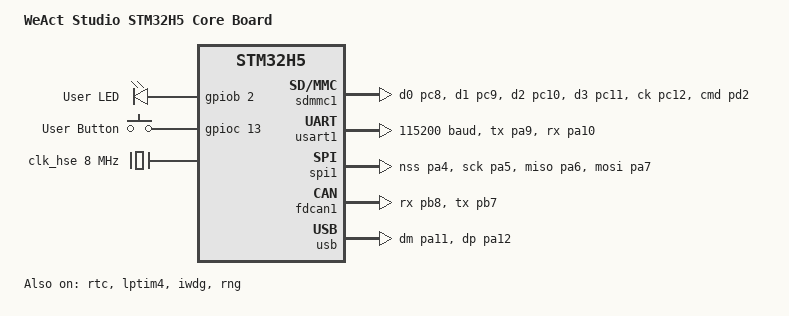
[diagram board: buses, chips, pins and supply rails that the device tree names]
/*
 * Copyright (c) 2025 Kacper Brzostowski
 *
 * SPDX-License-Identifier: Apache-2.0
 */

/dts-v1/;
#include <st/h5/stm32h562Xg.dtsi>
#include <st/h5/stm32h562rgtx-pinctrl.dtsi>
#include <zephyr/dt-bindings/input/input-event-codes.h>

/ {
	model = "WeAct Studio STM32H5 Core Board";
	compatible = "weact,stm32h5-core";

	chosen {
		zephyr,console = &usart1;
		zephyr,shell-uart = &usart1;
		zephyr,code-partition = &slot0_partition;
		zephyr,sram = &sram1;
		zephyr,flash = &flash0;
	};

	aliases {
		led0 = &led_0;
		sw0 = &button_0;
		watchdog0 = &iwdg;
	};

	leds {
		compatible = "gpio-leds";

		led_0: led0 {
			gpios = <&gpiob 2 GPIO_ACTIVE_HIGH>;
			label = "User LED";
		};
	};

	gpio_keys {
		compatible = "gpio-keys";

		button_0: button0 {
			label = "User Button";
			gpios = <&gpioc 13 (GPIO_PULL_DOWN | GPIO_ACTIVE_HIGH)>;
			zephyr,code = <INPUT_KEY_0>;
		};
	};
};

&sdmmc1 {
	pinctrl-0 = <&sdmmc1_d0_pc8 &sdmmc1_d1_pc9
				&sdmmc1_d2_pc10 &sdmmc1_d3_pc11
				&sdmmc1_ck_pc12 &sdmmc1_cmd_pd2>;
	cd-gpios = <&gpioa 8 GPIO_ACTIVE_LOW>;
	pinctrl-names = "default";
	cd-gpios = <&gpioa 8 (GPIO_ACTIVE_HIGH | GPIO_PULL_UP)>;
	disk-name = "SD";
	status = "okay";
};

&clk_lsi {
	status = "okay";
};

&clk_lse {
	status = "okay";
};

&clk_hsi {
	status = "okay";
};

&clk_hsi48 {
	status = "okay";
};

&clk_hse {
	status = "okay";
	clock-frequency = <DT_FREQ_M(8)>;
};

&rcc {
	clocks = <&pll>;
	clock-frequency = <DT_FREQ_M(240)>;
	ahb-prescaler = <1>;
	apb1-prescaler = <2>;
	apb2-prescaler = <1>;
	apb3-prescaler = <2>;
};

&pll {
	div-m = <2>;
	mul-n = <120>;
	div-p = <2>;
	div-q = <3>;
	div-r = <2>;
	clocks = <&clk_hse>;
	status = "okay";
};

&rtc {
	clocks = <&rcc STM32_CLOCK(APB3, 21)>,
			<&rcc STM32_SRC_LSE RTC_SEL(1)>;
	status = "okay";
};

stm32_lp_tick_source: &lptim4 {
	clocks = <&rcc STM32_CLOCK(APB3, 13)>,
			<&rcc STM32_SRC_LSI LPTIM4_SEL(4)>;
	status = "okay";
};

&iwdg {
	status = "okay";
};

&usart1 {
	status = "okay";
	pinctrl-0 = <&usart1_tx_pa9 &usart1_rx_pa10>;
	pinctrl-names = "default";
	current-speed = <115200>;
};

&rng {
	status = "okay";
};

&spi1 {
	pinctrl-0 = <&spi1_nss_pa4 &spi1_sck_pa5 &spi1_miso_pa6 &spi1_mosi_pa7>;
	pinctrl-names = "default";
	cs-gpios = <&gpioa 4 (GPIO_ACTIVE_LOW | GPIO_PULL_UP)>;
	status = "okay";
};

&fdcan1 {
	pinctrl-0 = <&fdcan1_rx_pb8 &fdcan1_tx_pb7>;
	pinctrl-names = "default";
	clocks = <&rcc STM32_CLOCK(APB1_2, 9)>,
		<&rcc STM32_SRC_PLL1_Q FDCAN_SEL(1)>;
	clk-divider = <2>;
	status = "okay";
};

zephyr_udc0: &usb {
	pinctrl-0 = <&usb_dm_pa11 &usb_dp_pa12>;
	pinctrl-names = "default";
	status = "okay";
};

&flash0 {
	partitions {
		compatible = "fixed-partitions";

		#address-cells = <1>;
		#size-cells = <1>;

		boot_partition: partition@0 {
			label = "mcuboot";
			reg = <0x00000000 DT_SIZE_K(64)>;
		};

		slot0_partition: partition@10000 {
			label = "image-0";
			reg = <0x00010000 DT_SIZE_K(448)>;
		};

		slot1_partition: partition@80000 {
			label = "image-1";
			reg = <0x00080000 DT_SIZE_K(448)>;
		};

		storage_partition: partition@f0000 {
			label = "storage";
			reg = <0x000f0000 DT_SIZE_K(64)>;
		};
	};
};
